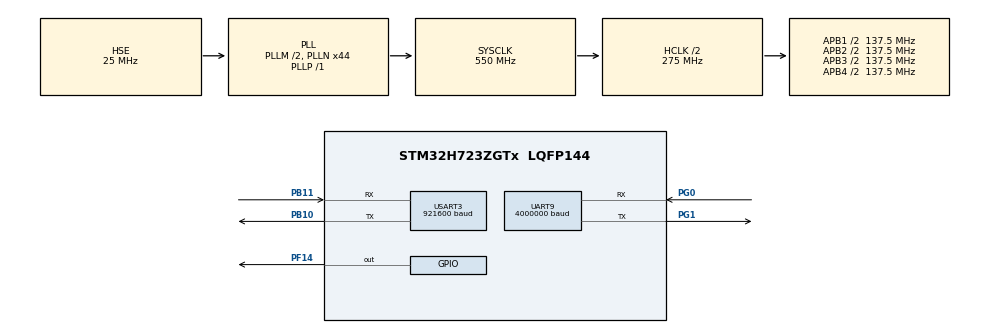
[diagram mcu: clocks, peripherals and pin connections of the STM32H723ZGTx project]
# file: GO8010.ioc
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CORTEX_M7.default_mode_Activation=1
Mcu.Family=STM32H7
Mcu.Name=STM32H723ZGTx
Mcu.Package=LQFP144
NVIC.PriorityGroup=NVIC_PRIORITYGROUP_4
NVIC.UART9_IRQn=true\:0\:0\:false\:false\:true\:true\:true\:true
PA13(JTMS/SWDIO).Mode=Serial_Wire
PA13(JTMS/SWDIO).Signal=DEBUG_JTMS-SWDIO
PA14(JTCK/SWCLK).Mode=Serial_Wire
PA14(JTCK/SWCLK).Signal=DEBUG_JTCK-SWCLK
PB10.Mode=Asynchronous
PB10.Signal=USART3_TX
PB11.Mode=Asynchronous
PB11.Signal=USART3_RX
PC14-OSC32_IN.Mode=LSE-External-Oscillator
PC14-OSC32_IN.Signal=RCC_OSC32_IN
PC15-OSC32_OUT.Mode=LSE-External-Oscillator
PC15-OSC32_OUT.Signal=RCC_OSC32_OUT
PF14.GPIO_ModeDefaultOutputPP=GPIO_MODE_OUTPUT_PP
PF14.Signal=GPIO_Output
PG0.GPIO_PuPd=GPIO_PULLUP
PG0.Mode=Asynchronous
PG0.Signal=UART9_RX
PG1.Mode=Asynchronous
PG1.Signal=UART9_TX
PH0-OSC_IN.Mode=HSE-External-Oscillator
PH0-OSC_IN.Signal=RCC_OSC_IN
PH1-OSC_OUT.Mode=HSE-External-Oscillator
PH1-OSC_OUT.Signal=RCC_OSC_OUT
ProjectManager.HeapSize=0x200
ProjectManager.StackSize=0x400
ProjectManager.TargetToolchain=MDK-ARM V5.32
RCC.ADCFreq_Value=46875000
RCC.APB1Freq_Value=137500000
RCC.APB2Freq_Value=137500000
RCC.APB3Freq_Value=137500000
RCC.APB4Freq_Value=137500000
RCC.CortexFreq_Value=550000000
RCC.D1PPRE=RCC_APB3_DIV2
RCC.D2PPRE1=RCC_APB1_DIV2
RCC.D2PPRE2=RCC_APB2_DIV2
RCC.D3PPRE=RCC_APB4_DIV2
RCC.DIVM1=2
RCC.DIVN1=44
RCC.DIVN2=120
RCC.DIVP1=1
RCC.HCLKFreq_Value=275000000
RCC.HPRE=RCC_HCLK_DIV2
RCC.PLL2FRACN=0
RCC.PLL3FRACN=0
RCC.PLLFRACN=0
RCC.PLLSourceVirtual=RCC_PLLSOURCE_HSE
RCC.SYSCLKFreq_VALUE=550000000
RCC.SYSCLKSource=RCC_SYSCLKSOURCE_PLLCLK
RCC.USBFreq_Value=275000000
UART9.BaudRate=4000000
USART3.BaudRate=921600
USART3.VirtualMode-Asynchronous=VM_ASYNC
VP_MEMORYMAP_VS_MEMORYMAP.Mode=CurAppReg
board=custom

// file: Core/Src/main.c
/* USER CODE BEGIN Header */
/**
  ******************************************************************************
  * @file           : main.c
  * @brief          : Main program body
  ******************************************************************************
  * @attention
  *
  * Copyright (c) 2026 STMicroelectronics.
  * All rights reserved.
  *
  * This software is licensed under terms that can be found in the LICENSE file
  * in the root directory of this software component.
  * If no LICENSE file comes with this software, it is provided AS-IS.
  *
  ******************************************************************************
  */
/* USER CODE END Header */
#include "main.h"
#include "usart.h"
#include "gpio.h"

/* USER CODE BEGIN Includes */
#include "gom_protocol.h"
#include "GO8010_driver.h"
/* USER CODE END Includes */

/* USER CODE BEGIN PV */
/* 电机对象（全局，便于调试观察） */
GO8010_Motor_t motor;

/* 速度软起动参数（调参改这里） */
float vel_target = 6.28f;   /* 目标速度 */
float vel_accel  = 2.0f;    /* 加速度（rad/s²），越小起动越柔和（爬满约 3.1 秒） */
float vel_set    = 0.0f;    /* 当前下发的速度，从 0 匀加速爬到目标（内部用） */
/* USER CODE END PV */

void SystemClock_Config(void);
static void MPU_Config(void);

/* USER CODE BEGIN 0 */

/* VOFA+ JustFloat 协议发送：帧头 + N个float(小端) + 帧尾 */
static void vofa_send(float *data, uint16_t count)
{
    uint8_t head[4] = {0x00, 0x00, 0x80, 0x7F};
    uint8_t tail[4] = {0x00, 0x00, 0x80, 0x7F};
    HAL_UART_Transmit(&huart8, head, 4, 100);
    HAL_UART_Transmit(&huart8, (uint8_t *)data, count * 4, 100);
    HAL_UART_Transmit(&huart8, tail, 4, 100);
}

/* USER CODE END 0 */

int main(void)
{

  /* MPU Configuration--------------------------------------------------------*/
  MPU_Config();

  /* MCU Configuration--------------------------------------------------------*/

  /* Reset of all peripherals, Initializes the Flash interface and the Systick. */
  HAL_Init();

  /* Configure the system clock */
  SystemClock_Config();

  /* Initialize all configured peripherals */
  MX_GPIO_Init();
  MX_UART9_Init();
  MX_USART3_UART_Init();
  /* USER CODE BEGIN 2 */

  /* 初始化电机：UART9，方向脚 PF14，电机ID=1 */
  GO8010_Motor_Init(&motor, &huart9, GPIOF, GPIO_PIN_14, 4);
  /* USER CODE END 2 */

  /* Infinite loop */
  while (1)
  {

    /* USER CODE BEGIN 3 */
    float vel_out, actual_out, torque, vofa[4];

    /* ① 软起动：速度从 0 匀加速爬到目标（1ms 步进，改 vel_accel 调快慢） */
    if (vel_set < vel_target)
    {
        vel_set += vel_accel * 0.001f;
        if (vel_set > vel_target) vel_set = vel_target;
    }

    /* ② 速度模式：下发目标速度 + K_W */
    GO8010_Motor_SetVelocity(&motor, vel_set*MOTOR_GEAR_RATIO, 0.07f);

    GO8010_Motor_SendRecv(&motor, 10);

    /* ③ VOFA+ 打印（输出轴单位 = 转子 / 减速比）：目标速度/实际速度/力矩/错误码 */
    vel_out    = vel_target ;
    actual_out = GO8010_Motor_GetVel(&motor) / MOTOR_GEAR_RATIO;
    torque     = GO8010_Motor_GetTorque(&motor);
    vofa[0] = vel_out;
    vofa[1] = actual_out;
    vofa[2] = torque;
    vofa[3] = (float)GO8010_Motor_GetError(&motor);
    vofa_send(vofa, 4);

    HAL_Delay(1);
  }
  /* USER CODE END 3 */
}

void SystemClock_Config(void)
{
  RCC_OscInitTypeDef RCC_OscInitStruct = {0};
  RCC_ClkInitTypeDef RCC_ClkInitStruct = {0};

  /** Supply configuration update enable
  */
  HAL_PWREx_ConfigSupply(PWR_LDO_SUPPLY);

  /** Configure the main internal regulator output voltage
  */
  __HAL_PWR_VOLTAGESCALING_CONFIG(PWR_REGULATOR_VOLTAGE_SCALE0);

  while(!__HAL_PWR_GET_FLAG(PWR_FLAG_VOSRDY)) {}

  /** Initializes the RCC Oscillators according to the specified parameters
  * in the RCC_OscInitTypeDef structure.
  */
  RCC_OscInitStruct.OscillatorType = RCC_OSCILLATORTYPE_HSE;
  RCC_OscInitStruct.HSEState = RCC_HSE_ON;
  RCC_OscInitStruct.PLL.PLLState = RCC_PLL_ON;
  RCC_OscInitStruct.PLL.PLLSource = RCC_PLLSOURCE_HSE;
  RCC_OscInitStruct.PLL.PLLM = 2;
  RCC_OscInitStruct.PLL.PLLN = 44;
  RCC_OscInitStruct.PLL.PLLP = 1;
  RCC_OscInitStruct.PLL.PLLQ = 2;
  RCC_OscInitStruct.PLL.PLLR = 2;
  RCC_OscInitStruct.PLL.PLLRGE = RCC_PLL1VCIRANGE_3;
  RCC_OscInitStruct.PLL.PLLVCOSEL = RCC_PLL1VCOWIDE;
  RCC_OscInitStruct.PLL.PLLFRACN = 0;
  if (HAL_RCC_OscConfig(&RCC_OscInitStruct) != HAL_OK)
  {
    Error_Handler();
  }

  /** Initializes the CPU, AHB and APB buses clocks
  */
  RCC_ClkInitStruct.ClockType = RCC_CLOCKTYPE_HCLK|RCC_CLOCKTYPE_SYSCLK
                              |RCC_CLOCKTYPE_PCLK1|RCC_CLOCKTYPE_PCLK2
                              |RCC_CLOCKTYPE_D3PCLK1|RCC_CLOCKTYPE_D1PCLK1;
  RCC_ClkInitStruct.SYSCLKSource = RCC_SYSCLKSOURCE_PLLCLK;
  RCC_ClkInitStruct.SYSCLKDivider = RCC_SYSCLK_DIV1;
  RCC_ClkInitStruct.AHBCLKDivider = RCC_HCLK_DIV2;
  RCC_ClkInitStruct.APB3CLKDivider = RCC_APB3_DIV2;
  RCC_ClkInitStruct.APB1CLKDivider = RCC_APB1_DIV2;
  RCC_ClkInitStruct.APB2CLKDivider = RCC_APB2_DIV2;
  RCC_ClkInitStruct.APB4CLKDivider = RCC_APB4_DIV2;

  if (HAL_RCC_ClockConfig(&RCC_ClkInitStruct, FLASH_LATENCY_3) != HAL_OK)
  {
    Error_Handler();
  }
}

 /* MPU Configuration */

void MPU_Config(void)
{
  MPU_Region_InitTypeDef MPU_InitStruct = {0};

  /* Disables the MPU */
  HAL_MPU_Disable();

  /** Initializes and configures the Region and the memory to be protected
  */
  MPU_InitStruct.Enable = MPU_REGION_ENABLE;
  MPU_InitStruct.Number = MPU_REGION_NUMBER0;
  MPU_InitStruct.BaseAddress = 0x0;
  MPU_InitStruct.Size = MPU_REGION_SIZE_4GB;
  MPU_InitStruct.SubRegionDisable = 0x87;
  MPU_InitStruct.TypeExtField = MPU_TEX_LEVEL0;
  MPU_InitStruct.AccessPermission = MPU_REGION_NO_ACCESS;
  MPU_InitStruct.DisableExec = MPU_INSTRUCTION_ACCESS_DISABLE;
  MPU_InitStruct.IsShareable = MPU_ACCESS_SHAREABLE;
  MPU_InitStruct.IsCacheable = MPU_ACCESS_NOT_CACHEABLE;
  MPU_InitStruct.IsBufferable = MPU_ACCESS_NOT_BUFFERABLE;

  HAL_MPU_ConfigRegion(&MPU_InitStruct);
  /* Enables the MPU */
  HAL_MPU_Enable(MPU_PRIVILEGED_DEFAULT);

}

void Error_Handler(void)
{
  __disable_irq();
  while (1)
  {
  }
}
